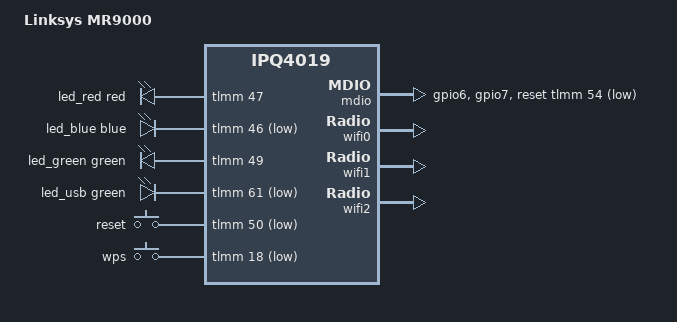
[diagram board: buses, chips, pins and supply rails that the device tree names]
// SPDX-License-Identifier: GPL-2.0-or-later OR MIT

#include <dt-bindings/leds/common.h>

#include "qcom-ipq4019-xx8300.dtsi"

/ {
	model = "Linksys MR9000";
	compatible = "linksys,mr9000", "qcom,ipq4019";

	aliases {
		led-boot = &led_blue;
		led-failsafe = &led_red;
		led-running = &led_green;
		led-upgrade = &led_blue;
		serial0 = &blsp1_uart1;
		label-mac-device = &swport5;
	};

	// Top panel LEDs, above Linksys logo
	leds {
		compatible = "gpio-leds";

		led_red: red {
			function = LED_FUNCTION_ALARM;
			color = <LED_COLOR_ID_RED>;
			gpios = <&tlmm 47 GPIO_ACTIVE_HIGH>;
			panic-indicator;
		};

		led_blue: blue {
			function = LED_FUNCTION_STATUS;
			color = <LED_COLOR_ID_BLUE>;
			gpios = <&tlmm 46 GPIO_ACTIVE_LOW>;
		};

		led_green: green {
			function = LED_FUNCTION_STATUS;
			color = <LED_COLOR_ID_GREEN>;
			gpios = <&tlmm 49 GPIO_ACTIVE_HIGH>;
		};

		// On back panel, above USB socket

		led_usb: usb {
			function = LED_FUNCTION_USB;
			color = <LED_COLOR_ID_GREEN>;
			gpios = <&tlmm 61 GPIO_ACTIVE_LOW>;
			trigger-sources = <&usb3_port1>, <&usb3_port2>,
					  <&usb2_port1>;
			linux,default-trigger = "usbport";
		};
	};

	keys {
		compatible = "gpio-keys";

		reset {
			label = "reset";
			linux,code = <KEY_RESTART>;
			gpios = <&tlmm 50 GPIO_ACTIVE_LOW>;
		};

		wps {
			label = "wps";
			linux,code = <KEY_WPS_BUTTON>;
			gpios = <&tlmm 18 GPIO_ACTIVE_LOW>;
		};
	};
};

&mdio {
	status = "okay";
	pinctrl-0 = <&mdio_pins>;
	pinctrl-names = "default";
	reset-gpios = <&tlmm 54 GPIO_ACTIVE_LOW>;
	reset-delay-us = <2000>;
	reset-post-delay-us = <5000>;
};

&tlmm {
	status = "okay";
	mdio_pins: mdio_pinmux {
		mux_1 {
			pins = "gpio6";
			function = "mdio";
			bias-pull-up;
		};
		mux_2 {
			pins = "gpio7";
			function = "mdc";
			bias-pull-up;
		};
	};
};

&wifi0 {
	status = "okay";
	qcom,ath10k-calibration-variant = "linksys-mr9000";
};

&wifi1 {
	status = "okay";
	ieee80211-freq-limit = <5170000 5330000>;
	qcom,ath10k-calibration-variant = "linksys-mr9000";
};

&wifi2 {
	status = "okay";
	ieee80211-freq-limit = <5490000 5835000>;
	qcom,ath10k-calibration-variant = "linksys-mr9000";
};
